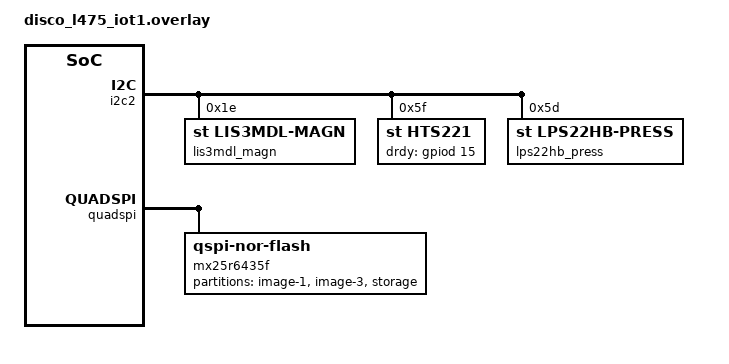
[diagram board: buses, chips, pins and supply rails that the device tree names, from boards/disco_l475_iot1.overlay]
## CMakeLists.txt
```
# SPDX-License-Identifier: Apache-2.0

cmake_minimum_required(VERSION 3.20.0)
find_package(Zephyr REQUIRED HINTS $ENV{ZEPHYR_BASE})
project(MOBILE)

FILE(GLOB app_sources src/*.c)

FILE(GLOB advertise ../mylib/advertise.c)

FILE(GLOB humid ../mylib/sensors/humid.c)
FILE(GLOB press ../mylib/sensors/press.c)
FILE(GLOB temp ../mylib/sensors/temp.c)
FILE(GLOB accel ../mylib/sensors/accel.c)
FILE(GLOB light ../mylib/sensors/light.c)
FILE(GLOB tvoc ../mylib/sensors/tvoc.c)
FILE(GLOB rtc ../mylib/sensors/rtc.c)

target_sources(app PRIVATE ${app_sources} ${advertise} ${humid} ${press} ${temp} ${accel} ${light} ${tvoc} ${rtc})

target_include_directories(app PRIVATE ../mylib)

target_compile_definitions(app PRIVATE
  UUID0=${UUID0}
  UUID1=${UUID1}
  UUID2=${UUID2}
  UUID3=${UUID3}
)
```

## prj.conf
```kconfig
CONFIG_BT=y
CONFIG_BT_BROADCASTER=y

CONFIG_SHELL_STACK_SIZE=4096
CONFIG_HEAP_MEM_POOL_SIZE=8192
CONFIG_PRINTK=y
CONFIG_LOG=y

# CONFIG_BT_LL_SW_SPLIT=y
# CONFIG_SETTINGS=y
# CONFIG_BT_SETTINGS=y
# CONFIG_BT_DEVICE_NAME_DYNAMIC=n


#Required for Thingy52
CONFIG_UART_CONSOLE=n
CONFIG_RTT_CONSOLE=y
CONFIG_USE_SEGGER_RTT=y
CONFIG_SHELL_BACKEND_RTT=y
CONFIG_NEWLIB_LIBC=y
CONFIG_NEWLIB_LIBC_FLOAT_PRINTF=y

CONFIG_SENSOR=y
CONFIG_I2C=y

CONFIG_AUDIO=y
CONFIG_AUDIO_DMIC=y
CONFIG_FPU=y

CONFIG_RTC=y
```

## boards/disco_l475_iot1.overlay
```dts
&i2c2 {
    lis3mdl_magn: lis3mdl-magn@1e {
        compatible = "st,lis3mdl-magn";
        reg = <0x1e>;
    };
    hts221: hts221@5f {
		compatible = "st,hts221";
		reg = <0x5f>;
		drdy-gpios = <&gpiod 15 GPIO_ACTIVE_HIGH>;
	};
    lps22hb_press: lps22hb-press@5d {
		compatible = "st,lps22hb-press";
		reg = <0x5d>;
	};
};

&quadspi {
    mx25r6435f: qspi-nor-flash@90000000 {
        partitions {
            compatible = "fixed-partitions";
            #address-cells = <1>;
            #size-cells = <1>;

            /delete-node/ slot1;
                /delete-node/ slot2;

                /* Redefine partitions with corrected sizes */
                slot1: partition@0 {
                    label = "image-1";
                    reg = <0x00000000 DT_SIZE_K(864)>; // 864KB
                };
                slot2: partition@d8000 {
                    label = "image-3";
                    reg = <0x000d8000 DT_SIZE_M(6)>;  // 6MB (reduced from 7MB)
                };
                storage: partition@6D8000 {
                    label = "storage";
                    reg = <0x006D8000 DT_SIZE_M(1)>;   // 1MB for LittleFS
                };
        };
    };
};



/ {
    aliases {
        mag = &lis3mdl_magn;
        humid = &hts221;
        temp = &hts221;
        press = &lps22hb_press;
		rtc = &rtc;
    };
};
```

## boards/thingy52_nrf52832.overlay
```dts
&i2c0 {
    status = "okay";

    bh1745: bh1745@38 {
        // compatible = "rohm,bh1745";
        reg = <0x38>;

        /* P0.30 is the sensor‑rail switch (VDD_PWD_CTRL) */
        power-gpios = <&gpio0 30 GPIO_ACTIVE_HIGH>;

        /* optional – the colour sensor INT line is P0.31 */
        int-gpios = <&gpio0 31 GPIO_ACTIVE_LOW>;
        label = "BH1745";
    };
};

&pdm0 {
    status = "okay";
    pinctrl-0 = <&pdm_default>;
    pinctrl-names = "default";
};


&pinctrl {
    pdm_default: pdm_default {
        group1 {
            psels = <NRF_PSEL(PDM_CLK, 0, 26)>,
                    <NRF_PSEL(PDM_DIN, 0, 25)>;
        };
    };
};


/{
    aliases {
        humid = &hts221;
        temp = &hts221;
        press = &lps22hb_press;
        accel = &lis2dh12;
        tvoc = &ccs811;
    };
};
```

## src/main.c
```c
#include "../../mylib/advertise.h"
#include "../../mylib/sensors/accel.h"
#include "../../mylib/sensors/humid.h"
#include "../../mylib/sensors/light.h"
#include "../../mylib/sensors/press.h"
#include "../../mylib/sensors/temp.h"
#include "../../mylib/sensors/tvoc.h"
#include <zephyr/drivers/gpio.h>

#define LED0_NODE DT_ALIAS(led0)
#define LED1_NODE DT_ALIAS(led1)
#define LED2_NODE DT_ALIAS(led2)
static const struct gpio_dt_spec led1 = GPIO_DT_SPEC_GET(LED0_NODE, gpios);
static const struct gpio_dt_spec led2 = GPIO_DT_SPEC_GET(LED1_NODE, gpios);
static const struct gpio_dt_spec led3 = GPIO_DT_SPEC_GET(LED2_NODE, gpios);

int main(void)
{
	if (!gpio_is_ready_dt(&led1) || !gpio_is_ready_dt(&led2) || !gpio_is_ready_dt(&led3))
	{
		return 0;
	}

	gpio_pin_configure_dt(&led1, GPIO_OUTPUT_ACTIVE);
	// gpio_pin_configure_dt(&led2, GPIO_OUTPUT_ACTIVE);
	// gpio_pin_configure_dt(&led3, GPIO_OUTPUT_ACTIVE);

	gpio_pin_set_dt(&led1, 1);
	// gpio_pin_set_dt(&led2, 1);
	// gpio_pin_set_dt(&led3, 1);

	return 0;
}

void run(void)
{
	float data;
	uint8_t pressure, humidity, temperature, accel_x, accel_y, accel_z;
	uint16_t tvoc;
	struct light_data light_data;
	struct accel_data accel_data;
	uint16_t counter = 0;

	while (1)
	{
		// printf("Fetching Data\n");
		humid_get(&data);
		humidity = (uint8_t)data;
		press_get(&data);
		pressure = (uint8_t)data;
		temp_get(&data);
		temperature = (uint8_t)data;
		tvoc_get(&data);
		tvoc = (uint16_t)data;
		accel_get(&accel_data);
		accel_x = (int8_t)accel_data.x;
		accel_y = (int8_t)accel_data.y;
		accel_z = (int8_t)accel_data.z;
		light_get(&light_data);
		// mic_read(&data);

		// printf("Sound: %0.2fdB\n", data);

		// printf("Humidity: %d\n", humidity);
		// printf("Pressure: %d\n", pressure);
		// printf("Temperature: %d\n\n", temperature);
		// printf("X: %d    Y: %d    Z: %d\n", accel_x, accel_y, accel_z);
		// printf("R: %d    G: %d    B: %d    W: %d\n", light_data.r, light_data.g, light_data.b, light_data.w);

		queue_data(counter, pressure, humidity, temperature, light_data.r, light_data.g, light_data.b, tvoc, accel_x, accel_y, accel_z);
		counter++;
		k_msleep(ADVERTISE_MS);
		// k_msleep(5000);
	}
}

K_THREAD_DEFINE(run_id, STACKSIZE, run, NULL, NULL, NULL,
				PRIORITY - 1, 0, 0);
```
